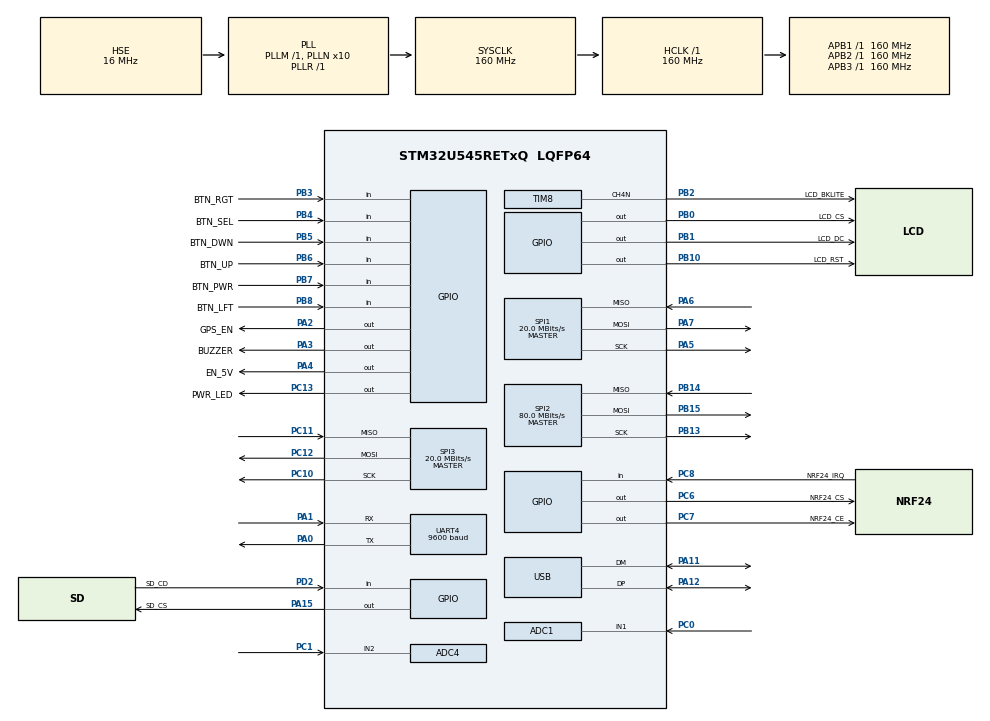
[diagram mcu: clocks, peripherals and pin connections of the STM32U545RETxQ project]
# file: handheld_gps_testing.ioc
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ADC1.Channel-6\#ChannelRegularConversion=ADC_CHANNEL_1
ADC1.ClockPrescaler=ADC_CLOCK_ASYNC_DIV4
ADC1.EnableAnalogWatchDog1=false
ADC1.MonitoredBy-6\#ChannelRegularConversion=__NULL
ADC1.NbrOfConversionFlag=1
ADC1.OffsetNumber-6\#ChannelRegularConversion=ADC_OFFSET_NONE
ADC1.Rank-6\#ChannelRegularConversion=1
ADC1.SamplingTime-6\#ChannelRegularConversion=ADC_SAMPLETIME_20CYCLES
ADC1.TriggerFrequencyMode=ADC_TRIGGER_FREQ_HIGH
ADC1.master=1
ADC4.Channel-0\#ChannelRegularConversion=ADC_CHANNEL_2
ADC4.ClockPrescaler=ADC_CLOCK_ASYNC_DIV4
ADC4.NbrOfConversionFlag=1
ADC4.OffsetNumber-0\#ChannelRegularConversion=ADC_OFFSET_NONE
ADC4.Rank-0\#ChannelRegularConversion=1
ADC4.RankArg-0\#ChannelRegularConversion=ADC4_REGULAR_RANK_1
ADC4.SamplingTime-0\#ChannelRegularConversion=ADC4_SAMPLINGTIME_COMMON_1
ADC4.SelectedChannel=ADC_CHANNEL_2
CORTEX_M33_NS.userName=CORTEX_M33
GPDMA1.DATAHANDLING_GPDMACH0=NONE
GPDMA1.DESTBURSTLENGTH_GPDMACH0=1
GPDMA1.DESTDATAWIDTH_GPDMACH0=DMA_DEST_DATAWIDTH_HALFWORD
GPDMA1.DIRECTION_GPDMACH0=DMA_MEMORY_TO_PERIPH
GPDMA1.IPHANDLE_GPDMACH0-SIMPLEREQUEST_GPDMACH0=__NULL
GPDMA1.PRIORITY_GPDMACH0=DMA_LOW_PRIORITY_LOW_WEIGHT
GPDMA1.REQUEST_GPDMACH0=GPDMA1_REQUEST_SPI1_TX
GPDMA1.SRCBURSTLENGTH_GPDMACH0=1
GPDMA1.SRCDATAWIDTH_GPDMACH0=DMA_SRC_DATAWIDTH_HALFWORD
GPDMA1.SRCINC_GPDMACH0=DMA_SINC_INCREMENTED
GPDMA1.TRIGGERPOLARITY_GPDMACH0=DMA_TRIG_POLARITY_MASKED
Mcu.Family=STM32U5
Mcu.Name=STM32U545RETxQ
Mcu.Package=LQFP64
NVIC.ADC1_IRQn=true\:0\:0\:false\:false\:true\:true\:true\:true
NVIC.GPDMA1_Channel0_IRQn=true\:0\:0\:false\:false\:true\:false\:true\:true
NVIC.PriorityGroup=NVIC_PRIORITYGROUP_4
NVIC.SPI1_IRQn=true\:0\:0\:false\:false\:true\:false\:true\:true
NVIC.TIM6_IRQn=true\:0\:0\:false\:false\:true\:true\:true\:true
NVIC.UART4_IRQn=true\:0\:0\:false\:false\:true\:true\:true\:true
PA0.Mode=Asynchronous
PA0.Signal=UART4_TX
PA1.Mode=Asynchronous
PA1.Signal=UART4_RX
PA11.Mode=Host
PA11.Signal=USB_DM
PA12.Mode=Host
PA12.Signal=USB_DP
PA13\ (JTMS/SWDIO).Mode=Serial_Wire
PA13\ (JTMS/SWDIO).Signal=DEBUG_JTMS-SWDIO
PA14\ (JTCK/SWCLK).Mode=Serial_Wire
PA14\ (JTCK/SWCLK).Signal=DEBUG_JTCK-SWCLK
PA15\ (JTDI).GPIO_Label=SD_CS
PA15\ (JTDI).Signal=GPIO_Output
PA2.GPIO_Label=GPS_EN
PA2.Signal=GPIO_Output
PA3.GPIO_Label=BUZZER
PA3.Signal=GPIO_Output
PA4.GPIO_Label=EN_5V
PA4.Signal=GPIO_Output
PA5.Mode=Full_Duplex_Master
PA5.Signal=SPI1_SCK
PA6.Mode=Full_Duplex_Master
PA6.Signal=SPI1_MISO
PA7.Mode=Full_Duplex_Master
PA7.Signal=SPI1_MOSI
PB0.GPIO_Label=LCD_CS
PB0.Signal=GPIO_Output
PB1.GPIO_Label=LCD_DC
PB1.Signal=GPIO_Output
PB10.GPIO_Label=LCD_RST
PB10.Signal=GPIO_Output
PB13.Mode=Full_Duplex_Master
PB13.Signal=SPI2_SCK
PB14.Mode=Full_Duplex_Master
PB14.Signal=SPI2_MISO
PB15.Mode=Full_Duplex_Master
PB15.Signal=SPI2_MOSI
PB2.GPIO_Label=LCD_BKLITE
PB2.Mode=PWM Generation4 CH4N
PB2.Signal=TIM8_CH4N
PB3\ (JTDO/TRACESWO).GPIO_Label=BTN_RGT
PB3\ (JTDO/TRACESWO).Signal=GPIO_Input
PB4\ (NJTRST).GPIO_Label=BTN_SEL
PB4\ (NJTRST).Signal=GPIO_Input
PB5.GPIO_Label=BTN_DWN
PB5.Signal=GPIO_Input
PB6.GPIO_Label=BTN_UP
PB6.Signal=GPIO_Input
PB7.GPIO_Label=BTN_PWR
PB7.Signal=GPIO_Input
PB8.GPIO_Label=BTN_LFT
PB8.Signal=GPIO_Input
PC0.Mode=IN1-Single-Ended
PC0.Signal=ADC1_IN1
PC1.Mode=IN2
PC1.Signal=ADC4_IN2
PC10.Mode=Full_Duplex_Master
PC10.Signal=SPI3_SCK
PC11.Mode=Full_Duplex_Master
PC11.Signal=SPI3_MISO
PC12.Mode=Full_Duplex_Master
PC12.Signal=SPI3_MOSI
PC13.GPIO_Label=PWR_LED
PC13.Signal=GPIO_Output
PC6.GPIO_Label=NRF24_CS
PC6.Signal=GPIO_Output
PC7.GPIO_Label=NRF24_CE
PC7.Signal=GPIO_Output
PC8.GPIO_Label=NRF24_IRQ
PC8.Signal=GPIO_Input
PD2.GPIO_Label=SD_CD
PD2.Signal=GPIO_Input
PH0-OSC_IN\ (PH0).Mode=HSE-External-Oscillator
PH0-OSC_IN\ (PH0).Signal=RCC_OSC_IN
PH1-OSC_OUT\ (PH1).Mode=HSE-External-Oscillator
PH1-OSC_OUT\ (PH1).Signal=RCC_OSC_OUT
ProjectManager.HeapSize=0x200
ProjectManager.StackSize=0x400
ProjectManager.TargetToolchain=STM32CubeIDE
RCC.ADCCLockSelection=RCC_ADCDACCLKSOURCE_SYSCLK
RCC.ADCFreq_Value=160000000
RCC.AHBFreq_Value=160000000
RCC.APB1Freq_Value=160000000
RCC.APB1TimFreq_Value=160000000
RCC.APB2Freq_Value=160000000
RCC.APB2TimFreq_Value=160000000
RCC.APB3Freq_Value=160000000
RCC.CK48CLockSelection=RCC_CLK48CLKSOURCE_PLL2
RCC.CortexFreq_Value=160000000
RCC.DACCLockSelectionVirtual=RCC_DAC1CLKSOURCE_LSI
RCC.DACCLockSelectionVirtualString=RCC_DAC1CLKSOURCE_LSI
RCC.EPOD_VALUE=16000000
RCC.HCLKFreq_Value=160000000
RCC.HSE_VALUE=16000000
RCC.HSI48_VALUE=48000000
RCC.HSI_VALUE=16000000
RCC.LSE_VALUE=32768
RCC.LSIDIV_VALUE=32000
RCC.MSI_VALUE=4000000
RCC.PLL1Q=4
RCC.PLL1R=1
RCC.PLL2N=12
RCC.PLL2Q=4
RCC.PLL2Source=RCC_PLLSOURCE_HSE
RCC.PLLN=10
RCC.PLLSourceVirtual=RCC_PLLSOURCE_HSE
RCC.SYSCLKFreq_VALUE=160000000
RCC.SYSCLKSource=RCC_SYSCLKSOURCE_PLLCLK
RCC.USBFreq_Value=48000000
RCC.VCOOutputFreq_Value=160000000
SPI1.BaudRatePrescaler=SPI_BAUDRATEPRESCALER_8
SPI1.CalculateBaudRate=20.0 MBits/s
SPI1.DataSize=SPI_DATASIZE_8BIT
SPI1.Direction=SPI_DIRECTION_2LINES
SPI1.Mode=SPI_MODE_MASTER
SPI1.VirtualType=VM_MASTER
SPI2.BaudRatePrescaler=SPI_BAUDRATEPRESCALER_2
SPI2.CalculateBaudRate=80.0 MBits/s
SPI2.Direction=SPI_DIRECTION_2LINES
SPI2.Mode=SPI_MODE_MASTER
SPI2.VirtualType=VM_MASTER
SPI3.BaudRatePrescaler=SPI_BAUDRATEPRESCALER_8
SPI3.CalculateBaudRate=20.0 MBits/s
SPI3.Direction=SPI_DIRECTION_2LINES
SPI3.Mode=SPI_MODE_MASTER
SPI3.VirtualType=VM_MASTER
STMicroelectronics.X-CUBE-TOUCHGFX.4.23.2.tgfx_address1=0x20000000
STMicroelectronics.X-CUBE-TOUCHGFX.4.23.2.tgfx_custom_height=240
STMicroelectronics.X-CUBE-TOUCHGFX.4.23.2.tgfx_custom_width=320
STMicroelectronics.X-CUBE-TOUCHGFX.4.23.2.tgfx_location=Allocate
STMicroelectronics.X-CUBE-TOUCHGFX.4.23.2_IsPackSelfContextualization=true
TIM6.AutoReloadPreload=TIM_AUTORELOAD_PRELOAD_DISABLE
TIM6.PeriodNoDither=333
TIM6.Prescaler=16000
TIM6.TIM_MasterOutputTrigger=TIM_TRGO_RESET
TIM8.AutoReloadPreload=TIM_AUTORELOAD_PRELOAD_ENABLE
TIM8.Channel-PWM\ Generation4\ CH4N=TIM_CHANNEL_4
TIM8.OCNIdleState_4=TIM_OCNIDLESTATE_RESET
TIM8.PeriodNoDither=1600
TIM8.PulseNoDither_4=800
UART4.BaudRate=9600
UART4.Mode=MODE_RX
VP_CRC_VS_CRC.Mode=CRC_Activate
VP_GPDMA1_VS_GPDMACH0.Mode=SIMPLEREQUEST_GPDMACH0
VP_LPBAMQUEUE_VS_QUEUE.Mode=QUEUEMODE
VP_LPBAM_VS_SIG1.Mode=SmartRun
VP_LPBAM_VS_SIG4.Mode=LPDMA1
VP_MEMORYMAP_VS_MEMORYMAP.Mode=CurAppReg
VP_PWR_VS_SECSignals.Mode=Security/Privilege
VP_PWR_Vdda.Mode=isolationVdda
VP_TIM6_VS_ClockSourceINT.Mode=Enable_Timer
board=custom

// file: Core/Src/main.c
/* USER CODE BEGIN Header */
/**
  ******************************************************************************
  * @file           : main.c
  * @brief          : Main program body
  ******************************************************************************
  * @attention
  *
  * Copyright (c) 2024 STMicroelectronics.
  * All rights reserved.
  *
  * This software is licensed under terms that can be found in the LICENSE file
  * in the root directory of this software component.
  * If no LICENSE file comes with this software, it is provided AS-IS.
  *
  ******************************************************************************
  */
/* USER CODE END Header */
#include "main.h"

/* USER CODE BEGIN Includes */
#include "gps.h"
#include <string.h>
#include <stdbool.h>
/* USER CODE END Includes */

ADC_HandleTypeDef hadc1;
ADC_HandleTypeDef hadc4;

CRC_HandleTypeDef hcrc;

SPI_HandleTypeDef hspi1;
SPI_HandleTypeDef hspi2;
SPI_HandleTypeDef hspi3;
DMA_HandleTypeDef handle_GPDMA1_Channel0;

TIM_HandleTypeDef htim6;
TIM_HandleTypeDef htim8;

UART_HandleTypeDef huart4;

HCD_HandleTypeDef hhcd_USB_DRD_FS;

void SystemClock_Config(void);
static void MX_GPIO_Init(void);
static void MX_GPDMA1_Init(void);
static void MX_SPI2_Init(void);
static void MX_SPI3_Init(void);
static void MX_USB_DRD_FS_HCD_Init(void);
static void MX_ADC1_Init(void);
static void MX_ADC4_Init(void);
static void MX_TIM8_Init(void);
static void MX_SPI1_Init(void);
static void MX_CRC_Init(void);
static void MX_UART4_Init(void);
static void MX_TIM6_Init(void);

int main(void)
{

  /* MCU Configuration--------------------------------------------------------*/

  /* Reset of all peripherals, Initializes the Flash interface and the Systick. */
  HAL_Init();

  /* Configure the system clock */
  SystemClock_Config();

  /* Initialize all configured peripherals */
  MX_GPIO_Init();
  MX_GPDMA1_Init();
  MX_SPI2_Init();
  MX_SPI3_Init();
  MX_USB_DRD_FS_HCD_Init();
  MX_ADC1_Init();
  MX_ADC4_Init();
  MX_TIM8_Init();
  MX_SPI1_Init();
  MX_CRC_Init();
  MX_UART4_Init();
  MX_TIM6_Init();
  /* USER CODE BEGIN 2 */
  //strings for holding date
  uint8_t gprmcSentence[100];
  uint8_t latitudeBuffer[10];
  uint8_t longitudeBuffer[11];
  uint8_t dateBuffer[7];

  //various things
  bool success = false;
  uint32_t uartStartTime = 0;

  // Write 0's to strings so they are null-terminated
  memset(gprmcSentence,0,100);
  memset(latitudeBuffer,0,10);
  memset(longitudeBuffer,0,11);
  memset(dateBuffer,0,7);

  // Enable GPS
  HAL_GPIO_WritePin(GPS_EN_GPIO_Port, GPS_EN_Pin, GPIO_PIN_SET);

  //stuff for holding GPS data
  bool hasFix;
  uint8_t hour;
  uint8_t min;
  /* USER CODE END 2 */

  /* Infinite loop */
  /* USER CODE BEGIN WHILE */
  while (1)
  {

	  if (!checkIfGprmcFound && !gpsUARTReceiveInProgress) {
		  uartStartTime = HAL_GetTick();
		  GPS_Start_UART_Read();
	  }
	  else if (checkIfGprmcFound) {
		  checkIfGprmcFound = false;
		  bool receivedSentence = GPS_Poll_For_GPRMC(gprmcSentence);
		  if (receivedSentence) {
			  success = true;
			  hasFix = GPS_Has_Fix(gprmcSentence);
			  hour = GPS_Get_Hour(gprmcSentence);
			  min = GPS_Get_Minute(gprmcSentence);
			  GPS_Get_Date(gprmcSentence, dateBuffer);
			  if (hasFix) {
				  GPS_Get_Latitude(gprmcSentence, latitudeBuffer);
				  GPS_Get_Longitude(gprmcSentence, longitudeBuffer);
			  }
		  }
		  else {
			  success = false;
		  }
	  }
	  if (success) {
		  success = false;
		  HAL_Delay(1000);
	  }
	  if ((HAL_GetTick() - uartStartTime > 5000) && gpsUARTReceiveInProgress) {
		  gpsUARTReceiveInProgress = false;	// Reset the UART receive if it gets stuck.
	  }

    /* USER CODE END WHILE */

  }
}

void SystemClock_Config(void)
{
  RCC_OscInitTypeDef RCC_OscInitStruct = {0};
  RCC_ClkInitTypeDef RCC_ClkInitStruct = {0};

  /** Configure the main internal regulator output voltage
  */
  if (HAL_PWREx_ControlVoltageScaling(PWR_REGULATOR_VOLTAGE_SCALE1) != HAL_OK)
  {
    Error_Handler();
  }

  /** Initializes the CPU, AHB and APB buses clocks
  */
  RCC_OscInitStruct.OscillatorType = RCC_OSCILLATORTYPE_HSE;
  RCC_OscInitStruct.HSEState = RCC_HSE_ON;
  RCC_OscInitStruct.PLL.PLLState = RCC_PLL_ON;
  RCC_OscInitStruct.PLL.PLLSource = RCC_PLLSOURCE_HSE;
  RCC_OscInitStruct.PLL.PLLMBOOST = RCC_PLLMBOOST_DIV1;
  RCC_OscInitStruct.PLL.PLLM = 1;
  RCC_OscInitStruct.PLL.PLLN = 10;
  RCC_OscInitStruct.PLL.PLLP = 2;
  RCC_OscInitStruct.PLL.PLLQ = 4;
  RCC_OscInitStruct.PLL.PLLR = 1;
  RCC_OscInitStruct.PLL.PLLRGE = RCC_PLLVCIRANGE_1;
  RCC_OscInitStruct.PLL.PLLFRACN = 0;
  if (HAL_RCC_OscConfig(&RCC_OscInitStruct) != HAL_OK)
  {
    Error_Handler();
  }

  /** Initializes the CPU, AHB and APB buses clocks
  */
  RCC_ClkInitStruct.ClockType = RCC_CLOCKTYPE_HCLK|RCC_CLOCKTYPE_SYSCLK
                              |RCC_CLOCKTYPE_PCLK1|RCC_CLOCKTYPE_PCLK2
                              |RCC_CLOCKTYPE_PCLK3;
  RCC_ClkInitStruct.SYSCLKSource = RCC_SYSCLKSOURCE_PLLCLK;
  RCC_ClkInitStruct.AHBCLKDivider = RCC_SYSCLK_DIV1;
  RCC_ClkInitStruct.APB1CLKDivider = RCC_HCLK_DIV1;
  RCC_ClkInitStruct.APB2CLKDivider = RCC_HCLK_DIV1;
  RCC_ClkInitStruct.APB3CLKDivider = RCC_HCLK_DIV1;

  if (HAL_RCC_ClockConfig(&RCC_ClkInitStruct, FLASH_LATENCY_4) != HAL_OK)
  {
    Error_Handler();
  }
}

static void MX_ADC1_Init(void)
{

  ADC_ChannelConfTypeDef sConfig = {0};

  /** Common config
  */
  hadc1.Instance = ADC1;
  hadc1.Init.ClockPrescaler = ADC_CLOCK_ASYNC_DIV4;
  hadc1.Init.Resolution = ADC_RESOLUTION_14B;
  hadc1.Init.GainCompensation = 0;
  hadc1.Init.DataAlign = ADC_DATAALIGN_RIGHT;
  hadc1.Init.ScanConvMode = ADC_SCAN_DISABLE;
  hadc1.Init.EOCSelection = ADC_EOC_SINGLE_CONV;
  hadc1.Init.LowPowerAutoWait = DISABLE;
  hadc1.Init.ContinuousConvMode = DISABLE;
  hadc1.Init.NbrOfConversion = 1;
  hadc1.Init.DiscontinuousConvMode = DISABLE;
  hadc1.Init.ExternalTrigConv = ADC_SOFTWARE_START;
  hadc1.Init.ExternalTrigConvEdge = ADC_EXTERNALTRIGCONVEDGE_NONE;
  hadc1.Init.DMAContinuousRequests = DISABLE;
  hadc1.Init.TriggerFrequencyMode = ADC_TRIGGER_FREQ_HIGH;
  hadc1.Init.Overrun = ADC_OVR_DATA_PRESERVED;
  hadc1.Init.LeftBitShift = ADC_LEFTBITSHIFT_NONE;
  hadc1.Init.ConversionDataManagement = ADC_CONVERSIONDATA_DR;
  hadc1.Init.OversamplingMode = DISABLE;
  if (HAL_ADC_Init(&hadc1) != HAL_OK)
  {
    Error_Handler();
  }

  /** Configure Regular Channel
  */
  sConfig.Channel = ADC_CHANNEL_1;
  sConfig.Rank = ADC_REGULAR_RANK_1;
  sConfig.SamplingTime = ADC_SAMPLETIME_20CYCLES;
  sConfig.SingleDiff = ADC_SINGLE_ENDED;
  sConfig.OffsetNumber = ADC_OFFSET_NONE;
  sConfig.Offset = 0;
  if (HAL_ADC_ConfigChannel(&hadc1, &sConfig) != HAL_OK)
  {
    Error_Handler();
  }

}

static void MX_ADC4_Init(void)
{

  ADC_ChannelConfTypeDef sConfig = {0};

  /** Common config
  */
  hadc4.Instance = ADC4;
  hadc4.Init.ClockPrescaler = ADC_CLOCK_ASYNC_DIV4;
  hadc4.Init.Resolution = ADC_RESOLUTION_12B;
  hadc4.Init.DataAlign = ADC_DATAALIGN_RIGHT;
  hadc4.Init.ScanConvMode = ADC4_SCAN_DISABLE;
  hadc4.Init.EOCSelection = ADC_EOC_SINGLE_CONV;
  hadc4.Init.LowPowerAutoPowerOff = ADC_LOW_POWER_NONE;
  hadc4.Init.LowPowerAutoWait = DISABLE;
  hadc4.Init.ContinuousConvMode = DISABLE;
  hadc4.Init.NbrOfConversion = 1;
  hadc4.Init.DiscontinuousConvMode = DISABLE;
  hadc4.Init.ExternalTrigConv = ADC_SOFTWARE_START;
  hadc4.Init.ExternalTrigConvEdge = ADC_EXTERNALTRIGCONVEDGE_NONE;
  hadc4.Init.DMAContinuousRequests = DISABLE;
  hadc4.Init.TriggerFrequencyMode = ADC_TRIGGER_FREQ_LOW;
  hadc4.Init.Overrun = ADC_OVR_DATA_PRESERVED;
  hadc4.Init.SamplingTimeCommon1 = ADC4_SAMPLETIME_1CYCLE_5;
  hadc4.Init.SamplingTimeCommon2 = ADC4_SAMPLETIME_1CYCLE_5;
  hadc4.Init.OversamplingMode = DISABLE;
  if (HAL_ADC_Init(&hadc4) != HAL_OK)
  {
    Error_Handler();
  }

  /** Configure Regular Channel
  */
  sConfig.Channel = ADC_CHANNEL_2;
  sConfig.Rank = ADC4_REGULAR_RANK_1;
  sConfig.SamplingTime = ADC4_SAMPLINGTIME_COMMON_1;
  sConfig.OffsetNumber = ADC_OFFSET_NONE;
  sConfig.Offset = 0;
  if (HAL_ADC_ConfigChannel(&hadc4, &sConfig) != HAL_OK)
  {
    Error_Handler();
  }

}

static void MX_CRC_Init(void)
{

  hcrc.Instance = CRC;
  hcrc.Init.DefaultPolynomialUse = DEFAULT_POLYNOMIAL_ENABLE;
  hcrc.Init.DefaultInitValueUse = DEFAULT_INIT_VALUE_ENABLE;
  hcrc.Init.InputDataInversionMode = CRC_INPUTDATA_INVERSION_NONE;
  hcrc.Init.OutputDataInversionMode = CRC_OUTPUTDATA_INVERSION_DISABLE;
  hcrc.InputDataFormat = CRC_INPUTDATA_FORMAT_BYTES;
  if (HAL_CRC_Init(&hcrc) != HAL_OK)
  {
    Error_Handler();
  }

}

static void MX_GPDMA1_Init(void)
{

  /* Peripheral clock enable */
  __HAL_RCC_GPDMA1_CLK_ENABLE();

  /* GPDMA1 interrupt Init */
    HAL_NVIC_SetPriority(GPDMA1_Channel0_IRQn, 0, 0);
    HAL_NVIC_EnableIRQ(GPDMA1_Channel0_IRQn);

}

static void MX_SPI1_Init(void)
{

  SPI_AutonomousModeConfTypeDef HAL_SPI_AutonomousMode_Cfg_Struct = {0};

  /* SPI1 parameter configuration*/
  hspi1.Instance = SPI1;
  hspi1.Init.Mode = SPI_MODE_MASTER;
  hspi1.Init.Direction = SPI_DIRECTION_2LINES;
  hspi1.Init.DataSize = SPI_DATASIZE_8BIT;
  hspi1.Init.CLKPolarity = SPI_POLARITY_LOW;
  hspi1.Init.CLKPhase = SPI_PHASE_1EDGE;
  hspi1.Init.NSS = SPI_NSS_SOFT;
  hspi1.Init.BaudRatePrescaler = SPI_BAUDRATEPRESCALER_8;
  hspi1.Init.FirstBit = SPI_FIRSTBIT_MSB;
  hspi1.Init.TIMode = SPI_TIMODE_DISABLE;
  hspi1.Init.CRCCalculation = SPI_CRCCALCULATION_DISABLE;
  hspi1.Init.CRCPolynomial = 0x7;
  hspi1.Init.NSSPMode = SPI_NSS_PULSE_ENABLE;
  hspi1.Init.NSSPolarity = SPI_NSS_POLARITY_LOW;
  hspi1.Init.FifoThreshold = SPI_FIFO_THRESHOLD_01DATA;
  hspi1.Init.MasterSSIdleness = SPI_MASTER_SS_IDLENESS_00CYCLE;
  hspi1.Init.MasterInterDataIdleness = SPI_MASTER_INTERDATA_IDLENESS_00CYCLE;
  hspi1.Init.MasterReceiverAutoSusp = SPI_MASTER_RX_AUTOSUSP_DISABLE;
  hspi1.Init.MasterKeepIOState = SPI_MASTER_KEEP_IO_STATE_DISABLE;
  hspi1.Init.IOSwap = SPI_IO_SWAP_DISABLE;
  hspi1.Init.ReadyMasterManagement = SPI_RDY_MASTER_MANAGEMENT_INTERNALLY;
  hspi1.Init.ReadyPolarity = SPI_RDY_POLARITY_HIGH;
  if (HAL_SPI_Init(&hspi1) != HAL_OK)
  {
    Error_Handler();
  }
  HAL_SPI_AutonomousMode_Cfg_Struct.TriggerState = SPI_AUTO_MODE_DISABLE;
  HAL_SPI_AutonomousMode_Cfg_Struct.TriggerSelection = SPI_GRP1_GPDMA_CH0_TCF_TRG;
  HAL_SPI_AutonomousMode_Cfg_Struct.TriggerPolarity = SPI_TRIG_POLARITY_RISING;
  if (HAL_SPIEx_SetConfigAutonomousMode(&hspi1, &HAL_SPI_AutonomousMode_Cfg_Struct) != HAL_OK)
  {
    Error_Handler();
  }

}

static void MX_SPI2_Init(void)
{

  SPI_AutonomousModeConfTypeDef HAL_SPI_AutonomousMode_Cfg_Struct = {0};

  /* SPI2 parameter configuration*/
  hspi2.Instance = SPI2;
  hspi2.Init.Mode = SPI_MODE_MASTER;
  hspi2.Init.Direction = SPI_DIRECTION_2LINES;
  hspi2.Init.DataSize = SPI_DATASIZE_4BIT;
  hspi2.Init.CLKPolarity = SPI_POLARITY_LOW;
  hspi2.Init.CLKPhase = SPI_PHASE_1EDGE;
  hspi2.Init.NSS = SPI_NSS_SOFT;
  hspi2.Init.BaudRatePrescaler = SPI_BAUDRATEPRESCALER_2;
  hspi2.Init.FirstBit = SPI_FIRSTBIT_MSB;
  hspi2.Init.TIMode = SPI_TIMODE_DISABLE;
  hspi2.Init.CRCCalculation = SPI_CRCCALCULATION_DISABLE;
  hspi2.Init.CRCPolynomial = 0x7;
  hspi2.Init.NSSPMode = SPI_NSS_PULSE_ENABLE;
  hspi2.Init.NSSPolarity = SPI_NSS_POLARITY_LOW;
  hspi2.Init.FifoThreshold = SPI_FIFO_THRESHOLD_01DATA;
  hspi2.Init.MasterSSIdleness = SPI_MASTER_SS_IDLENESS_00CYCLE;
  hspi2.Init.MasterInterDataIdleness = SPI_MASTER_INTERDATA_IDLENESS_00CYCLE;
  hspi2.Init.MasterReceiverAutoSusp = SPI_MASTER_RX_AUTOSUSP_DISABLE;
  hspi2.Init.MasterKeepIOState = SPI_MASTER_KEEP_IO_STATE_DISABLE;
  hspi2.Init.IOSwap = SPI_IO_SWAP_DISABLE;
  hspi2.Init.ReadyMasterManagement = SPI_RDY_MASTER_MANAGEMENT_INTERNALLY;
  hspi2.Init.ReadyPolarity = SPI_RDY_POLARITY_HIGH;
  if (HAL_SPI_Init(&hspi2) != HAL_OK)
  {
    Error_Handler();
  }
  HAL_SPI_AutonomousMode_Cfg_Struct.TriggerState = SPI_AUTO_MODE_DISABLE;
  HAL_SPI_AutonomousMode_Cfg_Struct.TriggerSelection = SPI_GRP1_GPDMA_CH0_TCF_TRG;
  HAL_SPI_AutonomousMode_Cfg_Struct.TriggerPolarity = SPI_TRIG_POLARITY_RISING;
  if (HAL_SPIEx_SetConfigAutonomousMode(&hspi2, &HAL_SPI_AutonomousMode_Cfg_Struct) != HAL_OK)
  {
    Error_Handler();
  }

}

static void MX_SPI3_Init(void)
{

  SPI_AutonomousModeConfTypeDef HAL_SPI_AutonomousMode_Cfg_Struct = {0};

  /* SPI3 parameter configuration*/
  hspi3.Instance = SPI3;
  hspi3.Init.Mode = SPI_MODE_MASTER;
  hspi3.Init.Direction = SPI_DIRECTION_2LINES;
  hspi3.Init.DataSize = SPI_DATASIZE_8BIT;
  hspi3.Init.CLKPolarity = SPI_POLARITY_LOW;
  hspi3.Init.CLKPhase = SPI_PHASE_1EDGE;
  hspi3.Init.NSS = SPI_NSS_SOFT;
  hspi3.Init.BaudRatePrescaler = SPI_BAUDRATEPRESCALER_8;
  hspi3.Init.FirstBit = SPI_FIRSTBIT_MSB;
  hspi3.Init.TIMode = SPI_TIMODE_DISABLE;
  hspi3.Init.CRCCalculation = SPI_CRCCALCULATION_DISABLE;
  hspi3.Init.CRCPolynomial = 0x7;
  hspi3.Init.NSSPMode = SPI_NSS_PULSE_ENABLE;
  hspi3.Init.NSSPolarity = SPI_NSS_POLARITY_LOW;
  hspi3.Init.FifoThreshold = SPI_FIFO_THRESHOLD_01DATA;
  hspi3.Init.MasterSSIdleness = SPI_MASTER_SS_IDLENESS_00CYCLE;
  hspi3.Init.MasterInterDataIdleness = SPI_MASTER_INTERDATA_IDLENESS_00CYCLE;
  hspi3.Init.MasterReceiverAutoSusp = SPI_MASTER_RX_AUTOSUSP_DISABLE;
  hspi3.Init.MasterKeepIOState = SPI_MASTER_KEEP_IO_STATE_DISABLE;
  hspi3.Init.IOSwap = SPI_IO_SWAP_DISABLE;
  hspi3.Init.ReadyMasterManagement = SPI_RDY_MASTER_MANAGEMENT_INTERNALLY;
  hspi3.Init.ReadyPolarity = SPI_RDY_POLARITY_HIGH;
  if (HAL_SPI_Init(&hspi3) != HAL_OK)
  {
    Error_Handler();
  }
  HAL_SPI_AutonomousMode_Cfg_Struct.TriggerState = SPI_AUTO_MODE_DISABLE;
  HAL_SPI_AutonomousMode_Cfg_Struct.TriggerSelection = SPI_GRP2_LPDMA_CH0_TCF_TRG;
  HAL_SPI_AutonomousMode_Cfg_Struct.TriggerPolarity = SPI_TRIG_POLARITY_RISING;
  if (HAL_SPIEx_SetConfigAutonomousMode(&hspi3, &HAL_SPI_AutonomousMode_Cfg_Struct) != HAL_OK)
  {
    Error_Handler();
  }

}

static void MX_TIM6_Init(void)
{

  TIM_MasterConfigTypeDef sMasterConfig = {0};

  htim6.Instance = TIM6;
  htim6.Init.Prescaler = 16000;
  htim6.Init.CounterMode = TIM_COUNTERMODE_UP;
  htim6.Init.Period = 333;
  htim6.Init.AutoReloadPreload = TIM_AUTORELOAD_PRELOAD_DISABLE;
  if (HAL_TIM_Base_Init(&htim6) != HAL_OK)
  {
    Error_Handler();
  }
  sMasterConfig.MasterOutputTrigger = TIM_TRGO_RESET;
  sMasterConfig.MasterSlaveMode = TIM_MASTERSLAVEMODE_DISABLE;
  if (HAL_TIMEx_MasterConfigSynchronization(&htim6, &sMasterConfig) != HAL_OK)
  {
    Error_Handler();
  }

}

static void MX_TIM8_Init(void)
{

  TIM_MasterConfigTypeDef sMasterConfig = {0};
  TIM_OC_InitTypeDef sConfigOC = {0};
  TIM_BreakDeadTimeConfigTypeDef sBreakDeadTimeConfig = {0};

  htim8.Instance = TIM8;
  htim8.Init.Prescaler = 0;
  htim8.Init.CounterMode = TIM_COUNTERMODE_UP;
  htim8.Init.Period = 1600;
  htim8.Init.ClockDivision = TIM_CLOCKDIVISION_DIV1;
  htim8.Init.RepetitionCounter = 0;
  htim8.Init.AutoReloadPreload = TIM_AUTORELOAD_PRELOAD_ENABLE;
  if (HAL_TIM_PWM_Init(&htim8) != HAL_OK)
  {
    Error_Handler();
  }
  sMasterConfig.MasterOutputTrigger = TIM_TRGO_RESET;
  sMasterConfig.MasterOutputTrigger2 = TIM_TRGO2_RESET;
  sMasterConfig.MasterSlaveMode = TIM_MASTERSLAVEMODE_DISABLE;
  if (HAL_TIMEx_MasterConfigSynchronization(&htim8, &sMasterConfig) != HAL_OK)
  {
    Error_Handler();
  }
  sConfigOC.OCMode = TIM_OCMODE_PWM1;
  sConfigOC.Pulse = 800;
  sConfigOC.OCPolarity = TIM_OCPOLARITY_HIGH;
  sConfigOC.OCNPolarity = TIM_OCNPOLARITY_HIGH;
  sConfigOC.OCFastMode = TIM_OCFAST_DISABLE;
  sConfigOC.OCIdleState = TIM_OCIDLESTATE_RESET;
  sConfigOC.OCNIdleState = TIM_OCNIDLESTATE_RESET;
  if (HAL_TIM_PWM_ConfigChannel(&htim8, &sConfigOC, TIM_CHANNEL_4) != HAL_OK)
  {
    Error_Handler();
  }
  sBreakDeadTimeConfig.OffStateRunMode = TIM_OSSR_DISABLE;
  sBreakDeadTimeConfig.OffStateIDLEMode = TIM_OSSI_DISABLE;
  sBreakDeadTimeConfig.LockLevel = TIM_LOCKLEVEL_OFF;
  sBreakDeadTimeConfig.DeadTime = 0;
  sBreakDeadTimeConfig.BreakState = TIM_BREAK_DISABLE;
  sBreakDeadTimeConfig.BreakPolarity = TIM_BREAKPOLARITY_HIGH;
  sBreakDeadTimeConfig.BreakFilter = 0;
  sBreakDeadTimeConfig.BreakAFMode = TIM_BREAK_AFMODE_INPUT;
  sBreakDeadTimeConfig.Break2State = TIM_BREAK2_DISABLE;
  sBreakDeadTimeConfig.Break2Polarity = TIM_BREAK2POLARITY_HIGH;
  sBreakDeadTimeConfig.Break2Filter = 0;
  sBreakDeadTimeConfig.Break2AFMode = TIM_BREAK_AFMODE_INPUT;
  sBreakDeadTimeConfig.AutomaticOutput = TIM_AUTOMATICOUTPUT_DISABLE;
  if (HAL_TIMEx_ConfigBreakDeadTime(&htim8, &sBreakDeadTimeConfig) != HAL_OK)
  {
    Error_Handler();
  }
  HAL_TIM_MspPostInit(&htim8);

}

static void MX_UART4_Init(void)
{

  huart4.Instance = UART4;
  huart4.Init.BaudRate = 9600;
  huart4.Init.WordLength = UART_WORDLENGTH_8B;
  huart4.Init.StopBits = UART_STOPBITS_1;
  huart4.Init.Parity = UART_PARITY_NONE;
  huart4.Init.Mode = UART_MODE_RX;
  huart4.Init.HwFlowCtl = UART_HWCONTROL_NONE;
  huart4.Init.OverSampling = UART_OVERSAMPLING_16;
  huart4.Init.OneBitSampling = UART_ONE_BIT_SAMPLE_DISABLE;
  huart4.Init.ClockPrescaler = UART_PRESCALER_DIV1;
  huart4.AdvancedInit.AdvFeatureInit = UART_ADVFEATURE_NO_INIT;
  if (HAL_UART_Init(&huart4) != HAL_OK)
  {
    Error_Handler();
  }
  if (HAL_UARTEx_SetTxFifoThreshold(&huart4, UART_TXFIFO_THRESHOLD_1_8) != HAL_OK)
  {
    Error_Handler();
  }
  if (HAL_UARTEx_SetRxFifoThreshold(&huart4, UART_RXFIFO_THRESHOLD_1_8) != HAL_OK)
  {
    Error_Handler();
  }
  if (HAL_UARTEx_DisableFifoMode(&huart4) != HAL_OK)
  {
    Error_Handler();
  }

}

static void MX_USB_DRD_FS_HCD_Init(void)
{

  hhcd_USB_DRD_FS.Instance = USB_DRD_FS;
  hhcd_USB_DRD_FS.Init.dev_endpoints = 8;
  hhcd_USB_DRD_FS.Init.Host_channels = 8;
  hhcd_USB_DRD_FS.Init.speed = HCD_SPEED_FULL;
  hhcd_USB_DRD_FS.Init.phy_itface = HCD_PHY_EMBEDDED;
  hhcd_USB_DRD_FS.Init.Sof_enable = DISABLE;
  hhcd_USB_DRD_FS.Init.low_power_enable = DISABLE;
  hhcd_USB_DRD_FS.Init.vbus_sensing_enable = DISABLE;
  hhcd_USB_DRD_FS.Init.bulk_doublebuffer_enable = DISABLE;
  hhcd_USB_DRD_FS.Init.iso_singlebuffer_enable = DISABLE;
  if (HAL_HCD_Init(&hhcd_USB_DRD_FS) != HAL_OK)
  {
    Error_Handler();
  }

}

static void MX_GPIO_Init(void)
{
  GPIO_InitTypeDef GPIO_InitStruct = {0};

  /* GPIO Ports Clock Enable */
  __HAL_RCC_GPIOC_CLK_ENABLE();
  __HAL_RCC_GPIOH_CLK_ENABLE();
  __HAL_RCC_GPIOA_CLK_ENABLE();
  __HAL_RCC_GPIOB_CLK_ENABLE();
  __HAL_RCC_GPIOD_CLK_ENABLE();

  /*Configure GPIO pin Output Level */
  HAL_GPIO_WritePin(GPIOC, PWR_LED_Pin|NRF24_CS_Pin|NRF24_CE_Pin, GPIO_PIN_RESET);

  /*Configure GPIO pin Output Level */
  HAL_GPIO_WritePin(GPIOA, GPS_EN_Pin|BUZZER_Pin|EN_5V_Pin|SD_CS_Pin, GPIO_PIN_RESET);

  /*Configure GPIO pin Output Level */
  HAL_GPIO_WritePin(GPIOB, LCD_CS_Pin|LCD_DC_Pin|LCD_RST_Pin, GPIO_PIN_RESET);

  /*Configure GPIO pins : PWR_LED_Pin NRF24_CS_Pin NRF24_CE_Pin */
  GPIO_InitStruct.Pin = PWR_LED_Pin|NRF24_CS_Pin|NRF24_CE_Pin;
  GPIO_InitStruct.Mode = GPIO_MODE_OUTPUT_PP;
  GPIO_InitStruct.Pull = GPIO_NOPULL;
  GPIO_InitStruct.Speed = GPIO_SPEED_FREQ_LOW;
  HAL_GPIO_Init(GPIOC, &GPIO_InitStruct);

  /*Configure GPIO pins : GPS_EN_Pin BUZZER_Pin EN_5V_Pin SD_CS_Pin */
  GPIO_InitStruct.Pin = GPS_EN_Pin|BUZZER_Pin|EN_5V_Pin|SD_CS_Pin;
  GPIO_InitStruct.Mode = GPIO_MODE_OUTPUT_PP;
  GPIO_InitStruct.Pull = GPIO_NOPULL;
  GPIO_InitStruct.Speed = GPIO_SPEED_FREQ_LOW;
  HAL_GPIO_Init(GPIOA, &GPIO_InitStruct);

  /*Configure GPIO pins : LCD_CS_Pin LCD_DC_Pin LCD_RST_Pin */
  GPIO_InitStruct.Pin = LCD_CS_Pin|LCD_DC_Pin|LCD_RST_Pin;
  GPIO_InitStruct.Mode = GPIO_MODE_OUTPUT_PP;
  GPIO_InitStruct.Pull = GPIO_NOPULL;
  GPIO_InitStruct.Speed = GPIO_SPEED_FREQ_LOW;
  HAL_GPIO_Init(GPIOB, &GPIO_InitStruct);

  /*Configure GPIO pin : NRF24_IRQ_Pin */
  GPIO_InitStruct.Pin = NRF24_IRQ_Pin;
  GPIO_InitStruct.Mode = GPIO_MODE_INPUT;
  GPIO_InitStruct.Pull = GPIO_NOPULL;
  HAL_GPIO_Init(NRF24_IRQ_GPIO_Port, &GPIO_InitStruct);

  /*Configure GPIO pin : SD_CD_Pin */
  GPIO_InitStruct.Pin = SD_CD_Pin;
  GPIO_InitStruct.Mode = GPIO_MODE_INPUT;
  GPIO_InitStruct.Pull = GPIO_NOPULL;
  HAL_GPIO_Init(SD_CD_GPIO_Port, &GPIO_InitStruct);

  /*Configure GPIO pins : BTN_RGT_Pin BTN_SEL_Pin BTN_DWN_Pin BTN_UP_Pin
                           BTN_PWR_Pin BTN_LFT_Pin */
  GPIO_InitStruct.Pin = BTN_RGT_Pin|BTN_SEL_Pin|BTN_DWN_Pin|BTN_UP_Pin
                          |BTN_PWR_Pin|BTN_LFT_Pin;
  GPIO_InitStruct.Mode = GPIO_MODE_INPUT;
  GPIO_InitStruct.Pull = GPIO_NOPULL;
  HAL_GPIO_Init(GPIOB, &GPIO_InitStruct);

}

void Error_Handler(void)
{
  __disable_irq();
  while (1)
  {
  }
}
